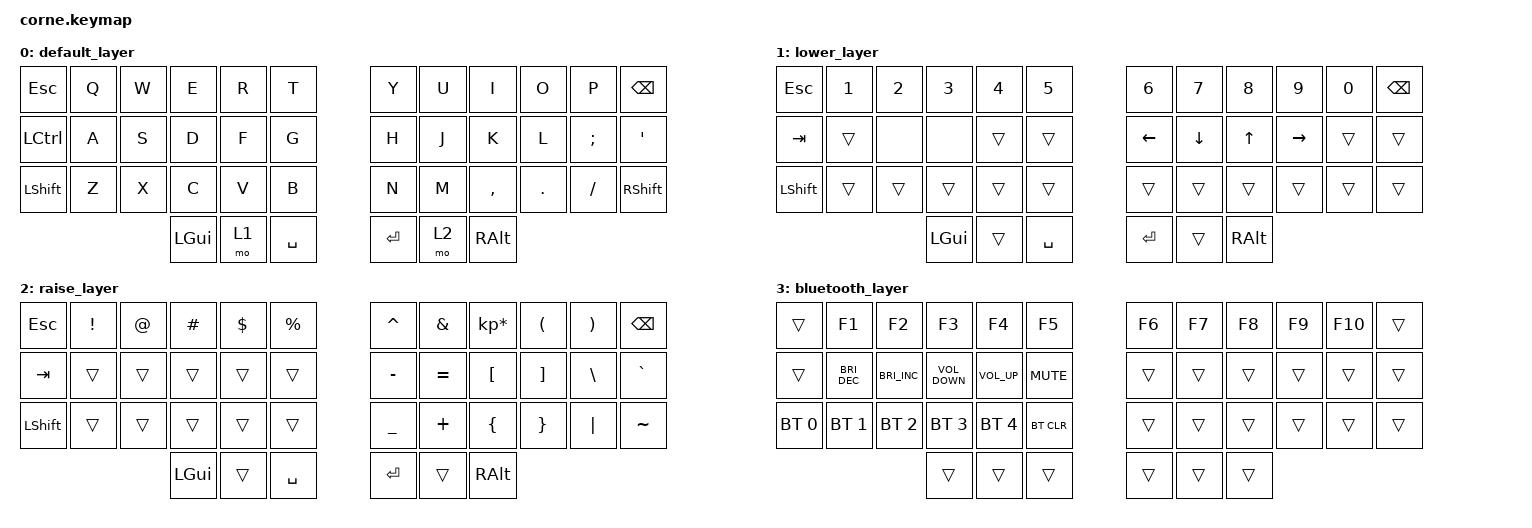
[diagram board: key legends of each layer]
/*
 * Copyright (c) 2020 The ZMK Contributors
 *
 * SPDX-License-Identifier: MIT
 */

#include <behaviors.dtsi>
#include <dt-bindings/zmk/bt.h>
#include <dt-bindings/zmk/keys.h>

/ {
    combos {
        compatible = "zmk,combos";

        vim_down {
            bindings = <&kp RC(D)>;
            key-positions = <37 12 15>;
        };

        vim_up {
            bindings = <&kp RC(U)>;
            key-positions = <37 12 7>;
        };
    };

    keymap {
        compatible = "zmk,keymap";

        default_layer {
            // -----------------------------------------------------------------------------------------
            // |  ESC |  Q  |  W  |  E  |  R  |  T  |   |  Y  |  U   |  I  |  O  |  P  | BKSP |
            // | CTRL |  A  |  S  |  D  |  F  |  G  |   |  H  |  J   |  K  |  L  |  ;  |  '   |
            // | SHFT |  Z  |  X  |  C  |  V  |  B  |   |  N  |  M   |  ,  |  .  |  /  | TAB  |
            //                    | GUI | LWR | SPC |   | ENT | RSE  | ALT |

            bindings = <
&kp ESC    &kp Q  &kp W  &kp E     &kp R  &kp T        &kp Y    &kp U  &kp I      &kp O    &kp P     &kp BSPC
&kp LCTRL  &kp A  &kp S  &kp D     &kp F  &kp G        &kp H    &kp J  &kp K      &kp L    &kp SEMI  &kp SQT
&kp LSHFT  &kp Z  &kp X  &kp C     &kp V  &kp B        &kp N    &kp M  &kp COMMA  &kp DOT  &kp FSLH  &kp RIGHT_SHIFT
                         &kp LGUI  &mo 1  &kp SPACE    &kp RET  &mo 2  &kp RALT
            >;
        };

        lower_layer {
            // -----------------------------------------------------------------------------------------
            // |  TAB |  1  |  2  |  3  |  4  |  5  |   |  6  |  7  |  8  |  9  |  0  | BKSP |
            // |      |     |     |     |     |     |   | LFT | DWN |  UP | RGT |     |      |
            // | SHFT | BT1 | BT2 | BT3 | BT4 | BT5 |   |     |     |     |     |     |BTCLR |
            //                    | GUI |     | SPC |   | ENT |     | ALT |

            bindings = <
&kp ESCAPE  &kp N1  &kp N2  &kp N3    &kp N4  &kp N5       &kp N6    &kp N7    &kp N8    &kp N9     &kp N0  &kp BSPC
&kp TAB     &trans  &none   &none     &trans  &trans       &kp LEFT  &kp DOWN  &kp UP    &kp RIGHT  &trans  &trans
&kp LSHFT   &trans  &trans  &trans    &trans  &trans       &trans    &trans    &trans    &trans     &trans  &trans
                            &kp LGUI  &trans  &kp SPACE    &kp RET   &trans    &kp RALT
            >;
        };

        raise_layer {
            // -----------------------------------------------------------------------------------------
            // |  TAB |  !  |  @  |  #  |  $  |  %  |   |  ^  |  &  |  *  |  (  |  )  | BKSP |
            // | CTRL |     |     |     |     |     |   |  -  |  =  |  [  |  ]  |  \  |  `   |
            // | SHFT |     |     |     |     |     |   |  _  |  +  |  {  |  }  | "|" |  ~   |
            //                    | GUI |     | SPC |   | ENT |     | ALT |

            bindings = <
&kp ESCAPE  &kp EXCL  &kp AT  &kp HASH  &kp DLLR  &kp PRCNT    &kp CARET  &kp AMPS   &kp KP_MULTIPLY  &kp LPAR  &kp RPAR  &kp BSPC
&kp TAB     &trans    &trans  &trans    &trans    &trans       &kp MINUS  &kp EQUAL  &kp LBKT         &kp RBKT  &kp BSLH  &kp GRAVE
&kp LSHFT   &trans    &trans  &trans    &trans    &trans       &kp UNDER  &kp PLUS   &kp LBRC         &kp RBRC  &kp PIPE  &kp TILDE
                              &kp LGUI  &trans    &kp SPACE    &kp RET    &trans     &kp RALT
            >;
        };

        bluetooth_layer {
            bindings = <
&trans        &kp F1                &kp F2                &kp F3             &kp F4           &kp F5        &kp F6  &kp F7  &kp F8  &kp F9  &kp F10  &trans
&trans        &kp C_BRIGHTNESS_DEC  &kp C_BRIGHTNESS_INC  &kp C_VOLUME_DOWN  &kp C_VOLUME_UP  &kp K_MUTE    &trans  &trans  &trans  &trans  &trans   &trans
&bt BT_SEL 0  &bt BT_SEL 1          &bt BT_SEL 2          &bt BT_SEL 3       &bt BT_SEL 4     &bt BT_CLR    &trans  &trans  &trans  &trans  &trans   &trans
                                                          &trans             &trans           &trans        &trans  &trans  &trans
            >;
        };
    };

    conditional_layers {
        compatible = "zmk,conditional-layers";

        bluetooth_condition {
            if-layers = <1 2>;
            then-layer = <3>;
        };
    };
};
